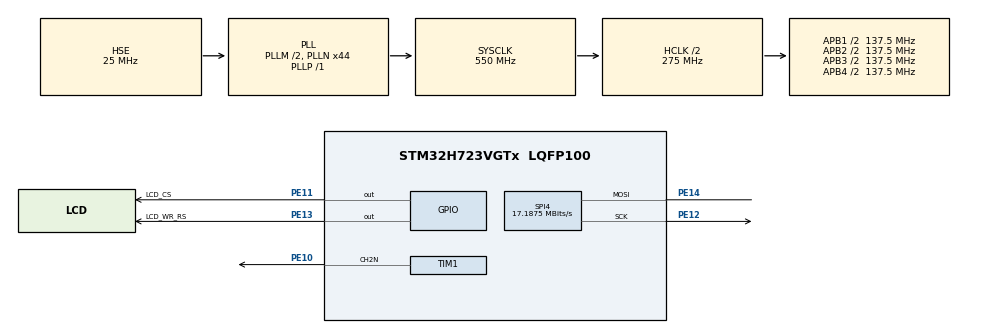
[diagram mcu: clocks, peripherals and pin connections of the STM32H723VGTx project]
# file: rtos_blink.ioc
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CORTEX_M7.default_mode_Activation=1
FREERTOS.Tasks01=BlinkTask,24,200,StartBlinkTask,Default,NULL,Dynamic,NULL,NULL;HelloWorldTask,24,200,StartTaskHelloWorld,Default,NULL,Dynamic,NULL,NULL
Mcu.Family=STM32H7
Mcu.Name=STM32H723VGTx
Mcu.Package=LQFP100
NVIC.PriorityGroup=NVIC_PRIORITYGROUP_4
NVIC.TIM3_IRQn=true\:15\:0\:false\:false\:true\:false\:false\:true\:true
NVIC.TimeBase=TIM3_IRQn
NVIC.TimeBaseIP=TIM3
PA13(JTMS/SWDIO).Mode=Trace_Asynchronous_SW
PA13(JTMS/SWDIO).Signal=DEBUG_JTMS-SWDIO
PA14(JTCK/SWCLK).Mode=Trace_Asynchronous_SW
PA14(JTCK/SWCLK).Signal=DEBUG_JTCK-SWCLK
PB3(JTDO/TRACESWO).Mode=Trace_Asynchronous_SW
PB3(JTDO/TRACESWO).Signal=DEBUG_JTDO-SWO
PC14-OSC32_IN.Mode=LSE-External-Oscillator
PC14-OSC32_IN.Signal=RCC_OSC32_IN
PC15-OSC32_OUT.Mode=LSE-External-Oscillator
PC15-OSC32_OUT.Signal=RCC_OSC32_OUT
PE10.Mode=PWM Generation2 CH2N
PE10.Signal=TIM1_CH2N
PE11.GPIO_Label=LCD_CS
PE11.Signal=GPIO_Output
PE12.Mode=Simplex_Bidirectional_Master
PE12.Signal=SPI4_SCK
PE13.GPIO_Label=LCD_WR_RS
PE13.Signal=GPIO_Output
PE14.Mode=Simplex_Bidirectional_Master
PE14.Signal=SPI4_MOSI
PH0-OSC_IN.Mode=HSE-External-Oscillator
PH0-OSC_IN.Signal=RCC_OSC_IN
PH1-OSC_OUT.Mode=HSE-External-Oscillator
PH1-OSC_OUT.Signal=RCC_OSC_OUT
ProjectManager.HeapSize=0x200
ProjectManager.StackSize=0x400
ProjectManager.TargetToolchain=CMake
RCC.ADCFreq_Value=50390625
RCC.APB1Freq_Value=137500000
RCC.APB2Freq_Value=137500000
RCC.APB3Freq_Value=137500000
RCC.APB4Freq_Value=137500000
RCC.CortexFreq_Value=550000000
RCC.D1PPRE=RCC_APB3_DIV2
RCC.D2PPRE1=RCC_APB1_DIV2
RCC.D2PPRE2=RCC_APB2_DIV2
RCC.D3PPRE=RCC_APB4_DIV2
RCC.DIVM1=2
RCC.DIVN1=44
RCC.DIVP1=1
RCC.HCLKFreq_Value=275000000
RCC.HPRE=RCC_HCLK_DIV2
RCC.PLLFRACN=0
RCC.PLLSourceVirtual=RCC_PLLSOURCE_HSE
RCC.PWR_Regulator_Voltage_Scale=PWR_REGULATOR_VOLTAGE_SCALE0
RCC.RTCClockSelection=RCC_RTCCLKSOURCE_LSE
RCC.SYSCLKFreq_VALUE=550000000
RCC.SYSCLKSource=RCC_SYSCLKSOURCE_PLLCLK
RCC.USBFreq_Value=275000000
RTC.Hours=12
RTC.Month=RTC_MONTH_NOVEMBER
RTC.WeekDay=RTC_WEEKDAY_WEDNESDAY
RTC.Year=25
SPI4.BaudRatePrescaler=SPI_BAUDRATEPRESCALER_8
SPI4.CalculateBaudRate=17.1875 MBits/s
SPI4.DataSize=SPI_DATASIZE_8BIT
SPI4.Direction=SPI_DIRECTION_1LINE
SPI4.Mode=SPI_MODE_MASTER
SPI4.VirtualType=VM_MASTER
TIM1.Channel-PWM\ Generation2\ CH2N=TIM_CHANNEL_2
TIM1.Period=1000 - 1
TIM1.Prescaler=27 - 1
VP_FREERTOS_VS_CMSIS_V2.Mode=CMSIS_V2
VP_MEMORYMAP_VS_MEMORYMAP.Mode=CurAppReg
VP_RNG_VS_RNG.Mode=RNG_Activate
VP_RTC_VS_RTC_Activate.Mode=RTC_Enabled
VP_RTC_VS_RTC_Calendar.Mode=RTC_Calendar
VP_SYS_VS_tim3.Mode=TIM3
board=custom

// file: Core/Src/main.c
/* USER CODE BEGIN Header */
/**
  ******************************************************************************
  * @file           : main.c
  * @brief          : Main program body
  ******************************************************************************
  * @attention
  *
  * Copyright (c) 2025 STMicroelectronics.
  * All rights reserved.
  *
  * This software is licensed under terms that can be found in the LICENSE file
  * in the root directory of this software component.
  * If no LICENSE file comes with this software, it is provided AS-IS.
  *
  ******************************************************************************
  */
/* USER CODE END Header */
#include "main.h"
#include "cmsis_os.h"
#include "rng.h"
#include "rtc.h"
#include "spi.h"
#include "tim.h"
#include "gpio.h"

/* USER CODE BEGIN Includes */
#include "lcd.h"
#include "printf.h"
/* USER CODE END Includes */

/* USER CODE BEGIN PM */

// #define ITM_Port8(n)    (*((volatile unsigned char *)(0xE0000000+4*n)))
// #define ITM_Port16(n)   (*((volatile unsigned short*)(0xE0000000+4*n)))
// #define ITM_Port32(n)   (*((volatile unsigned long *)(0xE0000000+4*n)))

// #define DEMCR           (*((volatile unsigned long *)(0xE000EDFC)))
// #define TRCENA          0x01000000

// struct __FILE { int handle; /* Add whatever you need here */ };
// FILE __stdout;
// FILE __stdin;

// int fputc(int ch, FILE *f) {
//   if (DEMCR & TRCENA) {
//     while (ITM_Port32(0) == 0);
//     ITM_Port8(0) = ch;
//   }
//   return(ch);
// }
/* USER CODE END PM */

void SystemClock_Config(void);
static void MPU_Config(void);
void MX_FREERTOS_Init(void);
/* USER CODE BEGIN PFP */
// int __io_putchar(int ch)
// {
//  // Write character to ITM ch.0
//  ITM_SendChar(ch);
//  return(ch);
// }

/* USER CODE END PFP */

int main(void)
{

  /* MPU Configuration--------------------------------------------------------*/
  MPU_Config();

  /* MCU Configuration--------------------------------------------------------*/

  /* Reset of all peripherals, Initializes the Flash interface and the Systick. */
  HAL_Init();

  /* Configure the system clock */
  SystemClock_Config();

  /* Initialize all configured peripherals */
  MX_GPIO_Init();
  MX_RNG_Init();
  MX_RTC_Init();
  MX_SPI4_Init();
  MX_TIM1_Init();
  /* USER CODE BEGIN 2 */
  LCD_Test();
  printf("hello\r\n");
  /* USER CODE END 2 */

  /* Init scheduler */
  osKernelInitialize();  /* Call init function for freertos objects (in cmsis_os2.c) */
  MX_FREERTOS_Init();

  /* Start scheduler */
  osKernelStart();

  /* We should never get here as control is now taken by the scheduler */

  /* Infinite loop */
  while (1)
  {

  }
}

void SystemClock_Config(void)
{
  RCC_OscInitTypeDef RCC_OscInitStruct = {0};
  RCC_ClkInitTypeDef RCC_ClkInitStruct = {0};

  /** Supply configuration update enable
  */
  HAL_PWREx_ConfigSupply(PWR_LDO_SUPPLY);

  /** Configure the main internal regulator output voltage
  */
  __HAL_PWR_VOLTAGESCALING_CONFIG(PWR_REGULATOR_VOLTAGE_SCALE0);

  while(!__HAL_PWR_GET_FLAG(PWR_FLAG_VOSRDY)) {}

  /** Configure LSE Drive Capability
  */
  HAL_PWR_EnableBkUpAccess();
  __HAL_RCC_LSEDRIVE_CONFIG(RCC_LSEDRIVE_LOW);

  /** Initializes the RCC Oscillators according to the specified parameters
  * in the RCC_OscInitTypeDef structure.
  */
  RCC_OscInitStruct.OscillatorType = RCC_OSCILLATORTYPE_HSI48|RCC_OSCILLATORTYPE_HSE
                              |RCC_OSCILLATORTYPE_LSE;
  RCC_OscInitStruct.HSEState = RCC_HSE_ON;
  RCC_OscInitStruct.LSEState = RCC_LSE_ON;
  RCC_OscInitStruct.HSI48State = RCC_HSI48_ON;
  RCC_OscInitStruct.PLL.PLLState = RCC_PLL_ON;
  RCC_OscInitStruct.PLL.PLLSource = RCC_PLLSOURCE_HSE;
  RCC_OscInitStruct.PLL.PLLM = 2;
  RCC_OscInitStruct.PLL.PLLN = 44;
  RCC_OscInitStruct.PLL.PLLP = 1;
  RCC_OscInitStruct.PLL.PLLQ = 2;
  RCC_OscInitStruct.PLL.PLLR = 2;
  RCC_OscInitStruct.PLL.PLLRGE = RCC_PLL1VCIRANGE_3;
  RCC_OscInitStruct.PLL.PLLVCOSEL = RCC_PLL1VCOWIDE;
  RCC_OscInitStruct.PLL.PLLFRACN = 0;
  if (HAL_RCC_OscConfig(&RCC_OscInitStruct) != HAL_OK)
  {
    Error_Handler();
  }

  /** Initializes the CPU, AHB and APB buses clocks
  */
  RCC_ClkInitStruct.ClockType = RCC_CLOCKTYPE_HCLK|RCC_CLOCKTYPE_SYSCLK
                              |RCC_CLOCKTYPE_PCLK1|RCC_CLOCKTYPE_PCLK2
                              |RCC_CLOCKTYPE_D3PCLK1|RCC_CLOCKTYPE_D1PCLK1;
  RCC_ClkInitStruct.SYSCLKSource = RCC_SYSCLKSOURCE_PLLCLK;
  RCC_ClkInitStruct.SYSCLKDivider = RCC_SYSCLK_DIV1;
  RCC_ClkInitStruct.AHBCLKDivider = RCC_HCLK_DIV2;
  RCC_ClkInitStruct.APB3CLKDivider = RCC_APB3_DIV2;
  RCC_ClkInitStruct.APB1CLKDivider = RCC_APB1_DIV2;
  RCC_ClkInitStruct.APB2CLKDivider = RCC_APB2_DIV2;
  RCC_ClkInitStruct.APB4CLKDivider = RCC_APB4_DIV2;

  if (HAL_RCC_ClockConfig(&RCC_ClkInitStruct, FLASH_LATENCY_3) != HAL_OK)
  {
    Error_Handler();
  }
}

 /* MPU Configuration */

void MPU_Config(void)
{
  MPU_Region_InitTypeDef MPU_InitStruct = {0};

  /* Disables the MPU */
  HAL_MPU_Disable();

  /** Initializes and configures the Region and the memory to be protected
  */
  MPU_InitStruct.Enable = MPU_REGION_ENABLE;
  MPU_InitStruct.Number = MPU_REGION_NUMBER0;
  MPU_InitStruct.BaseAddress = 0x0;
  MPU_InitStruct.Size = MPU_REGION_SIZE_4GB;
  MPU_InitStruct.SubRegionDisable = 0x87;
  MPU_InitStruct.TypeExtField = MPU_TEX_LEVEL0;
  MPU_InitStruct.AccessPermission = MPU_REGION_NO_ACCESS;
  MPU_InitStruct.DisableExec = MPU_INSTRUCTION_ACCESS_DISABLE;
  MPU_InitStruct.IsShareable = MPU_ACCESS_SHAREABLE;
  MPU_InitStruct.IsCacheable = MPU_ACCESS_NOT_CACHEABLE;
  MPU_InitStruct.IsBufferable = MPU_ACCESS_NOT_BUFFERABLE;

  HAL_MPU_ConfigRegion(&MPU_InitStruct);
  /* Enables the MPU */
  HAL_MPU_Enable(MPU_PRIVILEGED_DEFAULT);

}

void HAL_TIM_PeriodElapsedCallback(TIM_HandleTypeDef *htim)
{
  if (htim->Instance == TIM3)
  {
    HAL_IncTick();
  }
}

void Error_Handler(void)
{
  __disable_irq();
  while (1)
  {
  }
}

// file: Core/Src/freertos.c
/* USER CODE BEGIN Header */
/**
  ******************************************************************************
  * File Name          : freertos.c
  * Description        : Code for freertos applications
  ******************************************************************************
  * @attention
  *
  * Copyright (c) 2025 STMicroelectronics.
  * All rights reserved.
  *
  * This software is licensed under terms that can be found in the LICENSE file
  * in the root directory of this software component.
  * If no LICENSE file comes with this software, it is provided AS-IS.
  *
  ******************************************************************************
  */
/* USER CODE END Header */

#include "FreeRTOS.h"
#include "task.h"
#include "main.h"
#include "cmsis_os.h"

/* USER CODE BEGIN Includes */
#include "board.h"
#include "rng.h"
#include "st7735.h"
#include "lcd.h"
#include "printf.h"

/* USER CODE END Includes */

/* USER CODE BEGIN Variables */
uint8_t  text[20] = "Hello, World!";
uint32_t tick,tick_now;
/* USER CODE END Variables */
/* Definitions for BlinkTask */
osThreadId_t BlinkTaskHandle;
const osThreadAttr_t BlinkTask_attributes = {
  .name = "BlinkTask",
  .stack_size = 200 * 4,
  .priority = (osPriority_t) osPriorityNormal,
};
/* Definitions for HelloWorldTask */
osThreadId_t HelloWorldTaskHandle;
const osThreadAttr_t HelloWorldTask_attributes = {
  .name = "HelloWorldTask",
  .stack_size = 200 * 4,
  .priority = (osPriority_t) osPriorityNormal,
};

void StartBlinkTask(void *argument);
void StartTaskHelloWorld(void *argument);

void MX_FREERTOS_Init(void); /* (MISRA C 2004 rule 8.1) */

void MX_FREERTOS_Init(void) {

  /* Create the thread(s) */
  /* creation of BlinkTask */
  BlinkTaskHandle = osThreadNew(StartBlinkTask, NULL, &BlinkTask_attributes);

  /* creation of HelloWorldTask */
  HelloWorldTaskHandle = osThreadNew(StartTaskHelloWorld, NULL, &HelloWorldTask_attributes);

}

void StartBlinkTask(void *argument)
{
  /* USER CODE BEGIN StartBlinkTask */
  board_button_init();
  board_led_init();
  tick = HAL_GetTick() + 200;
  tick_now = HAL_GetTick();
  uint32_t rng;
  /* Infinite loop */
  for(;;)
  {
    tick_now = HAL_GetTick();
    if(board_button_getstate())
    {
      if(tick_now >= tick)
      {
        tick = tick_now + 200;
        board_led_toggle();
      }
    }
    else
    {
      if(tick_now >= tick)
      {
		    HAL_RNG_GenerateRandomNumber(&hrng,&rng);
        tick = tick_now + rng%600;
        board_led_toggle();
      }
    }
    osDelay(1);
  }
  /* USER CODE END StartBlinkTask */
}

void StartTaskHelloWorld(void *argument)
{
  /* USER CODE BEGIN StartTaskHelloWorld */

  /* Infinite loop */
  for(;;)
  {
    LCD_ShowString(4, 58, 160, 16, 16, text);
    osDelay(1);
  }
  /* USER CODE END StartTaskHelloWorld */
}
